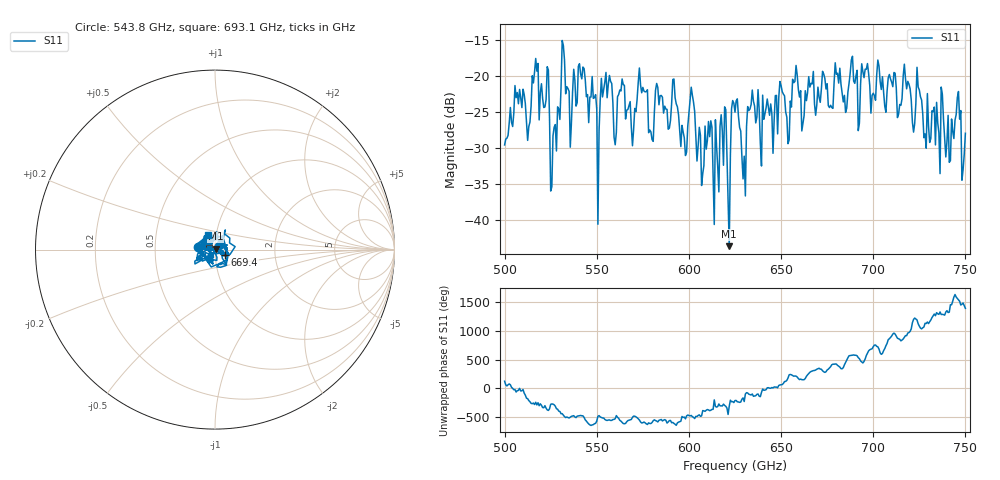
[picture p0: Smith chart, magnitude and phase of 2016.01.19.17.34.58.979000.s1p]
!Created with skrf (http://scikit-rf.org).
# GHz S RI R 50.0
!freq ReS11 ImS11
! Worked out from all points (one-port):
!   401 points, 500 GHz to 750 GHz, reference 50 ohm
!   lowest |S11| = -43.7 dB at 621.9 GHz (marker M1), VSWR 1.01, Z = 50.4 + j0.493 ohm
!   |S11| at or under -10 dB: start of sweep to end of sweep
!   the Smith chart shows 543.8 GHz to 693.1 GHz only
!   S11 on the Smith chart (normalised r, x): 543.8 GHz: 0.83, +0.02; 669.4 GHz: 1.11, -0.07; 693.1 GHz: 0.91, +0.15
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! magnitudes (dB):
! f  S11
! 500 GHz  -29.6
! 506.9 GHz  -22.3
! 513.1 GHz  -27.0
! 516.9 GHz  -17.6
! 526.2 GHz  -28.3
! 531.2 GHz  -15.0
! 535.6 GHz  -29.9
! 543.8 GHz  -20.5
! 550.6 GHz  -40.7
! 553.8 GHz  -21.9
! 560 GHz  -29.6
! 562.5 GHz  -21.9
! 579.4 GHz  -27.8
! 593.8 GHz  -24.3
! 598.1 GHz  -31.1
! 601.9 GHz  -22.7
! 615 GHz  -29.8
! 618.8 GHz  -32.4
! 621.9 GHz  -43.7
! 625 GHz  -25.0
! 629.4 GHz  -34.3
! 633.1 GHz  -24.6
! 656.2 GHz  -20.5
! 669.4 GHz  -24.0
! 687.5 GHz  -19.6
! 693.1 GHz  -21.1
! 718.8 GHz  -20.7
! 750 GHz  -28.0
